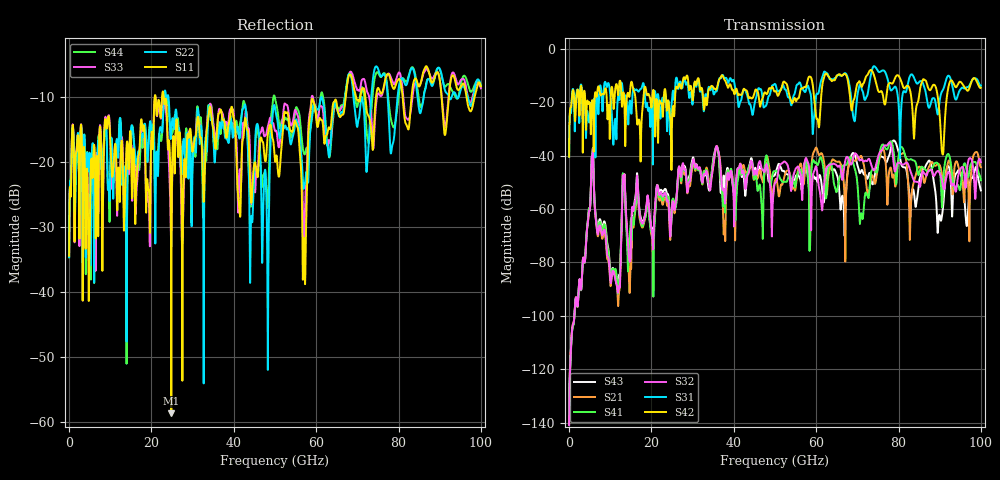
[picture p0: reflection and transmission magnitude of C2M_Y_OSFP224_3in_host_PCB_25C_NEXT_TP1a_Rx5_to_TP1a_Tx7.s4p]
# GHz S RI R 45
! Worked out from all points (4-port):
!   4000 points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, 25 MHz to 100 GHz, reference 45 ohm
!   strongest paths, dB at 25 MHz, 25.02 GHz, 50.02 GHz, 75.03 GHz, 100 GHz:
!     S42: -40.4, -26.7, -15.9, -15.6, -14.6
!     S31: -40.4, -18.3, -13.2, -8.3, -13.8
!     S32: -140.9, -58.7, -50.3, -40.6, -42.5
!     S41: -136.9, -58.4, -45.8, -44.0, -49.2
!     S21: -140.7, -58.7, -49.2, -44.0, -44.3
!     S43: -133.0, -58.3, -47.1, -41.1, -53.0
!   lowest |S11| = -58.6 dB at 24.82 GHz (marker M1), VSWR 1.00, Z = 45.1 - j0.0116 ohm
!   |S11| at or under -10 dB: start of sweep to 20.8 GHz; 22.99 GHz to 67.18 GHz (44.19 GHz wide, 98 % of centre); 71.96 GHz to 74.52 GHz (2.56 GHz wide, 3.5 % of centre)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
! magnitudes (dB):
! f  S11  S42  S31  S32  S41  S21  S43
! 25 MHz  -34.4  -40.4  -40.4  -140.9  -136.9  -140.7  -133.0
! 5.675 GHz  -22.2  -19.2  -23.5  -40.2  -40.0  -40.2  -40.0
! 10.32 GHz  -21.1  -14.4  -22.6  -85.8  -83.9  -85.8  -83.6
! 13.32 GHz  -30.5  -17.1  -19.3  -49.1  -48.9  -49.0  -49.0
! 14.68 GHz  -17.2  -17.9  -20.1  -79.4  -72.0  -90.8  -73.1
! 24.82 GHz  -58.6  -36.2  -22.3  -63.9  -64.4  -64.1  -63.9
! 100 GHz  -8.3  -14.6  -13.8  -42.5  -49.2  -44.3  -53.0
